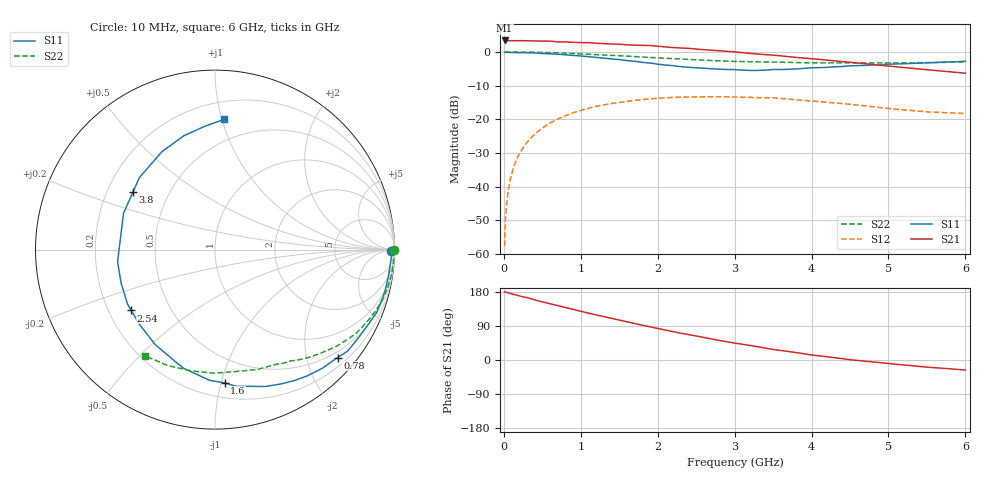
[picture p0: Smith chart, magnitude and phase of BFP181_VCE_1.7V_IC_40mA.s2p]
! Infineon Technologies  Discrete & RF Semiconductors
! BFP181
! VCE = 1.7 V,  IC =  40 mA
! Common Emitter S-Parameters:  Jan 2016
# GHz  S  MA  R  50
!  f  S11  S21  S12  S22
! GHz  MAG  ANG  MAG  ANG  MAG  ANG  MAG  ANG
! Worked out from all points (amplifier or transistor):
!   210 points, 10 MHz to 6 GHz, reference 50 ohm
!   highest |S21| = 3.4 dB at 10 MHz (marker M1)
!   |S21| within 3 dB of that: start of sweep to 2.784 GHz
!   unconditionally stable (mu >= 1): 3.722 GHz to end of sweep
!   at 185 MHz: K = 0.07, MSG = 17.2 dB, |S12| = -31.0 dB
!   at 1.52 GHz: K = 0.47, MSG = 8.6 dB, |S12| = -14.9 dB
!   at 6 GHz: K = 1.51, MAG = 1.8 dB, |S12| = -18.3 dB
!   S11 on the Smith chart (normalised r, x): 10 MHz: 84, -49; 780 MHz: 0.37, -2.60; 1.6 GHz: 0.31, -1.03; 2.54 GHz: 0.29, -0.30; 3.8 GHz: 0.31, +0.29; 6 GHz: 0.33, +1.02
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0.01  0.9824 -0.6  1.481 179.9  0.0013 90.0  0.9994 -0.2
0.015  0.9855 -0.8  1.479 179.8  0.0022 86.4  0.9992 -0.3
0.025  0.9877 -1.1  1.477 179.3  0.0038 86.9  0.9989 -0.6
0.04  0.985 -1.9  1.476 178.2  0.0061 90.0  0.9986 -1.1
0.06  0.9825 -3.0  1.474 176.9  0.0091 88.5  0.9983 -1.7
0.11  0.9799 -5.7  1.468 174.3  0.0166 83.5  0.9976 -2.9
0.18  0.9762 -9.6  1.468 170.5  0.0274 82.5  0.9965 -4.7
0.3  0.9716 -16.0  1.466 164.6  0.0453 78.3  0.993 -8.0
0.4  0.9667 -21.2  1.458 158.6  0.0597 74.4  0.989 -10.6
0.78  0.9101 -41.4  1.408 139.3  0.1103 59.7  0.9605 -20.2
1.02  0.8677 -54.6  1.375 127.6  0.1376 51.1  0.9348 -25.9
1.3  0.8122 -69.9  1.333 114.5  0.1637 41.3  0.9035 -32.3
1.6  0.7441 -85.9  1.273 100.8  0.1855 32.3  0.8674 -38.2
2.02  0.6541 -111.4  1.209 82.4  0.2055 20.3  0.8152 -45.9
2.54  0.5766 -144.0  1.094 61.9  0.2149 7.2  0.757 -54.7
2.8  0.5555 -160.5  1.046 51.7  0.2167 1.1  0.7391 -58.9
3.1  0.5363 -178.6  0.976 41.6  0.2127 -5.4  0.7191 -63.8
3.5  0.5485 158.3  0.897 27.8  0.208 -13.0  0.7087 -70.3
3.8  0.5587 144.8  0.83 19.5  0.1952 -17.3  0.6949 -76.0
4.1  0.585 132.6  0.775 11.0  0.1832 -21.5  0.6875 -82.0
5.1  0.6624 103.0  0.601 -11.3  0.1411 -27.6  0.6883 -103.5
6  0.7275 86.0  0.483 -26.5  0.1214 -20.1  0.7093 -123.6
